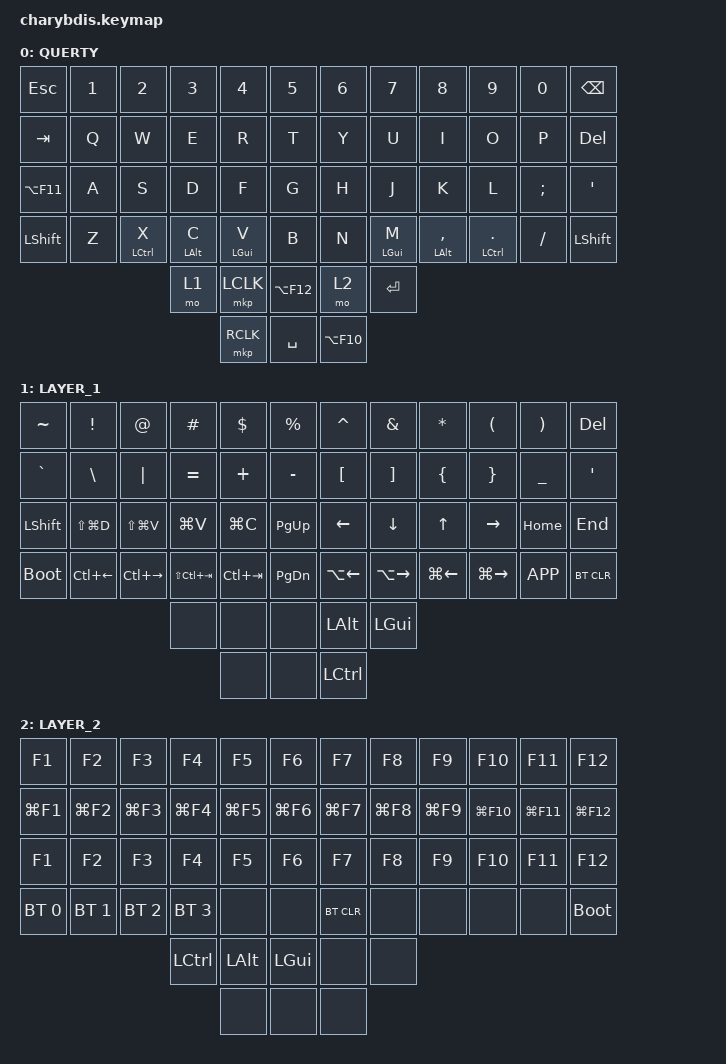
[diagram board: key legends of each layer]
#include <dt-bindings/zmk/mouse.h>
#include <behaviors/mouse_keys.dtsi>
#include <behaviors.dtsi>
#include <dt-bindings/zmk/bt.h>
#include <dt-bindings/zmk/ext_power.h>
#include <dt-bindings/zmk/keys.h>
#include <dt-bindings/zmk/pointing.h>
#include <input/processors.dtsi>

// / {
//     chosen { zmk,matrix_transform = &default_transform; };
// };

/ {
    /* input config for mouse move mode */

    trackball_listener {
        compatible = "zmk,input-behavior-listener";
        device = <&vtrackball>;
        layers = <0 3 6>;
        evt-type = <INPUT_EV_REL>;
        x-input-code = <INPUT_REL_X>;
        y-input-code = <INPUT_REL_Y>;
        scale-multiplier = <1>;
        scale-divisor = <2>;

        // bindings = <&ib_toggle_layer 7>;
    };

    /* input config for snipe mode */

    trackball_snipe_listener {
        compatible = "zmk,input-behavior-listener";
        device = <&vtrackball>;
        layers = <10>;
        evt-type = <INPUT_EV_REL>;
        x-input-code = <INPUT_REL_X>;
        y-input-code = <INPUT_REL_Y>;
        scale-multiplier = <1>;
        scale-divisor = <4>;
    };

    /* input config for mouse scroll mode */

    trackball_scroll_listener {
        compatible = "zmk,input-behavior-listener";
        device = <&vtrackball>;
        layers = <9>;
        evt-type = <INPUT_EV_REL>;
        x-input-code = <INPUT_REL_MISC>;
        y-input-code = <INPUT_REL_WHEEL>;
        y-invert;
        bindings = <&ib_wheel_scaler 1 14>;
    };

    /* define a resolution down scaler only for INPUT_REL_WHEEL */

    ib_wheel_scaler: ib_wheel_scaler {
        compatible = "zmk,input-behavior-scaler";
        #binding-cells = <2>;
        evt-type = <INPUT_EV_REL>;
        input-code = <INPUT_REL_WHEEL>;
    };

    behaviors {
        hm: homerow_mods {
            compatible = "zmk,behavior-hold-tap";
            #binding-cells = <2>;
            tapping-term-ms = <200>;
            quick-tap-ms = <0>;
            flavor = "tap-preferred";
            bindings = <&kp>, <&kp>;
        };
    };

    keymap {
        compatible = "zmk,keymap";

        default_layer {
            bindings = <
// ╭──────────────────────────────────────────────────────────────────────╮ ╭────────────────────────────────────────────────────────────────────────╮
    &kp ESCAPE   &kp N1  &kp N2       &kp N3      &kp N4      &kp N5          &kp N6  &kp N7      &kp N8          &kp N9         &kp N0    &kp BSPC
    &kp TAB      &kp Q   &kp W        &kp E       &kp R       &kp T           &kp Y   &kp U       &kp I           &kp O          &kp P     &kp DEL
    &kp LA(F11)  &kp A   &kp S        &kp D       &kp F       &kp G           &kp H   &kp J       &kp K           &kp L          &kp SEMI  &kp SQT 
    &kp LSHIFT   &kp Z   &hm LCTRL X  &hm LALT C  &hm LGUI V  &kp B           &kp N   &hm LGUI M  &hm LALT COMMA  &hm LCTRL DOT  &kp FSLH  &kp LSHIFT
//  ╰─────────────────────────────────────────────────────────────────────┤ ├────────────────────────────────────────────────────────────────────────╯
                                      &mo 1       &mkp LCLK   &kp LA(F12)     &mo 2   &kp ENTER
//                                   ╰────────────────────────────────────┤ ├──────────────────╯
                                                  &mkp RCLK   &kp SPACE       &kp LA(F10)
//                                               ╰────────────────────────╯ ╰────────────╯
//                                    &kp LA(F12) &kp SPACE   &mo 1           &mo 2   &kp ENTER
//                                   ╰────────────────────────────────────┤ ├──────────────────╯
//                                                &mkp RCLK   &mkp LCLK       &kp LA(F10)
//                                               ╰────────────────────────╯ ╰────────────╯
            >;
            label = "QUERTY";
        };

        layer_1 {
            bindings = <
// ╭───────────────────────────────────────────────────────────────────────────────────╮ ╭───────────────────────────────────────────────────────────────────────────────╮
    &kp TILDE    &kp EXCL      &kp AT         &kp HASH         &kp DLLR     &kp PRCNT     &kp CARET     &kp AMPS       &kp ASTRK     &kp LPAR       &kp RPAR   &kp DEL
    &kp GRAVE    &kp BSLH      &kp PIPE       &kp EQUAL        &kp PLUS     &kp MINUS     &kp LBKT      &kp RBKT       &kp LBRC      &kp RBRC       &kp UNDER  &kp APOS
    &kp LSHIFT   &kp LS(LG(D)) &kp LS(LG(V))  &kp LG(V)        &kp LG(C)    &kp PG_UP     &kp LEFT      &kp DOWN       &kp UP        &kp RIGHT      &kp HOME   &kp END
    &bootloader  &kp LC(LEFT)  &kp LC(RIGHT)  &kp LS(LC(TAB))  &kp LC(TAB)  &kp PG_DN     &kp LA(LEFT)  &kp LA(RIGHT)  &kp LG(LEFT)  &kp LG(RIGHT)  &kp K_APP  &bt BT_CLR
//  ╰──────────────────────────────────────────────────────────────────────────────────┤ ├───────────────────────────────────────────────────────────────────────────────╯
                                              &none            &none        &none         &kp LALT   &kp LGUI
//                                           ╰─────────────────────────────────────────┤ ├───────────────────╯
                                                              &none         &none         &kp LCTRL
//                                                           ╰─────────────────────────╯ ╰──────────╯
            >;

            label = "LAYER_1";
        };

        layer_2 {
            bindings = <
// ╭─────────────────────────────────────────────────────────────────────────────────╮ ╭───────────────────────────────────────────────────────────────────────────────╮
    &kp F1        &kp F2        &kp F3        &kp F4        &kp F5        &kp F6         &kp F7      &kp F8      &kp F9      &kp F10      &kp F11      &kp F12
    &kp LG(F1)    &kp LG(F2)    &kp LG(F3)    &kp LG(F4)    &kp LG(F5)    &kp LG(F6)     &kp LG(F7)  &kp LG(F8)  &kp LG(F9)  &kp LG(F10)  &kp LG(F11)  &kp LG(F12)
    &kp F1        &kp F2        &kp F3        &kp F4        &kp F5        &kp F6         &kp F7      &kp F8      &kp F9      &kp F10      &kp F11      &kp F12
//    &kp C_VOL_DN  &kp C_VOL_UP  &kp C_PREV    &kp C_PP      &kp C_NEXT    &none          &kp LEFT    &kp DOWN    &kp UP      &kp RIGHT    &kp HOME     &kp END 
    &bt BT_SEL 0  &bt BT_SEL 1  &bt BT_SEL 2  &bt BT_SEL 3  &none         &none          &bt BT_CLR  &none       &none       &none        &none        &bootloader 
//  ╰────────────────────────────────────────────────────────────────────────────────┤ ├───────────────────────────────────────────────────────────────────────────────╯
                                              &kp LCTRL     &kp LALT      &kp LGUI       &none   &none
//                                           ╰───────────────────────────────────────┤ ├──────────────╯
                                                              &none       &none          &none
//                                                           ╰───────────────────────╯ ╰──────╯
            >;

            label = "LAYER_2";
        };
    };
};
